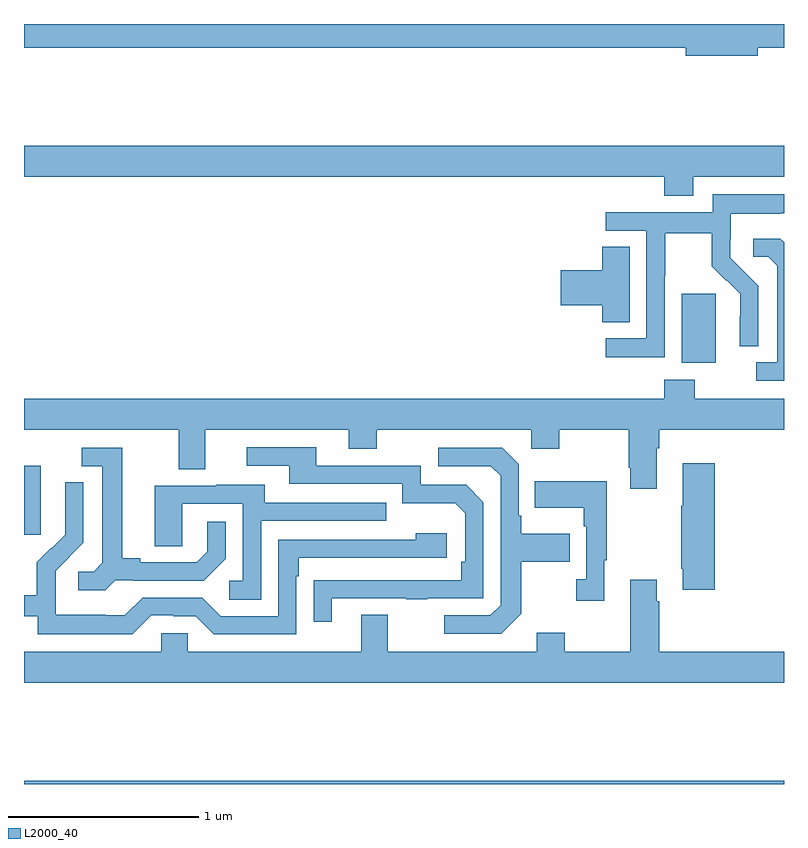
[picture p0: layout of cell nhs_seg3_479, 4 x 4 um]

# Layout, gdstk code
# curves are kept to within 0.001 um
import gdstk
lib = gdstk.Library(unit=1e-6, precision=1e-09)
def R(c, l, rs):  # rectangles x0, y0, x1, y1
    for r in rs: c.add(gdstk.rectangle(r[:2], r[2:], *l))
def P(c, l, *ps):  # polygons
    for p in ps: c.add(gdstk.Polygon(p, *l))
L2000_40 = (2000, 40)

nhs_seg3_479 = lib.new_cell('nhs_seg3_479')
R(nhs_seg3_479, L2000_40, [(135,684.4,139,684.416), (135,685.713,135.088,686.074), (138.461,686.618,138.64,686.979)])
P(nhs_seg3_479, L2000_40, [(138.862,688.276),(139,688.276),(139,688.4),(135,688.4),(135,688.276),(138.482,688.276),(138.482,688.234),(138.862,688.234)],
  [(138.523,687.596),(139,687.596),(139,687.76),(135,687.76),(135,687.596),(138.371,687.596),(138.371,687.497),(138.523,687.497)],
  [(138.372,687.076),(138.375,687.076),(138.375,687.3),(138.619,687.3),(138.619,687.125),(138.696,687.048),(138.699,687.051),(138.77,686.981),(138.77,686.858),(138.768,686.858),(138.768,686.704),(138.864,686.704),(138.864,687.022),(138.718,687.17),(138.718,687.267),(138.72,687.267),(138.72,687.401),(138.983,687.401),(138.983,687.405),(139,687.405),(139,687.505),(138.624,687.505),(138.624,687.408),(138.063,687.408),(138.063,687.312),(138.276,687.312),(138.276,686.745),(138.063,686.745),(138.063,686.647),(138.372,686.647)],
  [(139,687.251),(138.98,687.271),(138.837,687.271),(138.837,687.174),(138.918,687.174),(138.965,687.127),(138.965,686.619),(138.855,686.619),(138.855,686.523),(139,686.523)],
  [(138.187,687.227),(138.044,687.227),(138.044,687.104),(137.826,687.104),(137.826,686.921),(138.044,686.921),(138.044,686.83),(138.187,686.83)],
  [(135,686.264),(135.815,686.264),(135.815,686.056),(135.955,686.056),(135.955,686.264),(136.709,686.264),(136.709,686.165),(136.857,686.165),(136.857,686.264),(137.67,686.264),(137.67,686.165),(137.817,686.165),(137.817,686.264),(138.184,686.264),(138.184,686.065),(138.191,686.065),(138.191,685.953),(138.331,685.953),(138.331,686.168),(138.344,686.168),(138.344,686.264),(139,686.264),(139,686.428),(138.531,686.428),(138.531,686.527),(138.371,686.527),(138.371,686.428),(135,686.428)],
  [(136.621,685.377),(137.011,685.377),(137.011,685.372),(137.123,685.372),(137.123,685.377),(137.418,685.377),(137.418,685.884),(137.328,685.974),(137.088,685.974),(137.088,686.076),(136.537,686.076),(136.537,686.172),(136.173,686.172),(136.173,686.076),(136.397,686.076),(136.397,685.98),(136.992,685.98),(136.992,685.877),(137.269,685.877),(137.322,685.824),(137.322,685.57),(137.302,685.57),(137.302,685.473),(136.525,685.472),(136.525,685.254),(136.621,685.254)],
  [(135.48,685.473),(135.574,685.473),(135.574,685.47),(135.946,685.47),(136.062,685.586),(136.062,685.78),(135.965,685.78),(135.965,685.623),(135.908,685.566),(135.613,685.566),(135.613,685.589),(135.517,685.589),(135.517,686.169),(135.303,686.169),(135.303,686.073),(135.413,686.073),(135.413,685.565),(135.366,685.518),(135.285,685.518),(135.285,685.421),(135.428,685.421)],
  [(137.617,685.297),(137.617,685.57),(137.873,685.57),(137.873,685.717),(137.617,685.717),(137.617,685.813),(137.604,685.813),(137.604,686.082),(137.517,686.169),(137.181,686.169),(137.181,686.073),(137.457,686.073),(137.508,686.022),(137.508,685.341),(137.454,685.287),(137.211,685.287),(137.211,685.191),(137.511,685.191)],
  [(138.635,686.089),(138.467,686.089),(138.467,685.865),(138.46,685.865),(138.46,685.534),(138.467,685.534),(138.467,685.422),(138.635,685.422)],
  [(138.055,685.577),(138.067,685.577),(138.067,685.993),(137.689,685.993),(137.689,685.853),(137.946,685.853),(137.946,685.757),(137.958,685.757),(137.958,685.478),(137.907,685.478),(137.907,685.365),(138.055,685.365)],
  [(135.669,685.287),(135.785,685.287),(135.785,685.284),(135.903,685.284),(135.999,685.188),(136.434,685.188),(136.434,685.493),(136.447,685.493),(136.447,685.59),(137.224,685.59),(137.224,685.72),(137.063,685.72),(137.063,685.686),(136.338,685.686),(136.338,685.284),(136.035,685.284),(135.939,685.38),(135.624,685.38),(135.531,685.287),(135.431,685.287),(135.431,685.291),(135.168,685.291),(135.168,685.425),(135.166,685.425),(135.166,685.522),(135.312,685.67),(135.312,685.988),(135.216,685.988),(135.216,685.834),(135.218,685.834),(135.218,685.712),(135.147,685.641),(135.144,685.644),(135.067,685.567),(135.067,685.393),(135,685.393),(135,685.284),(135.072,685.284),(135.072,685.187),(135.569,685.187)],
  [(136.248,685.785),(136.907,685.785),(136.907,685.881),(136.267,685.881),(136.267,685.975),(136.013,685.975),(136.013,685.971),(135.689,685.971),(135.689,685.651),(135.834,685.651),(135.834,685.875),(136.152,685.875),(136.152,685.47),(136.08,685.47),(136.08,685.369),(136.248,685.369)],
  [(139,685.096),(138.344,685.096),(138.344,685.361),(138.331,685.361),(138.331,685.474),(138.191,685.474),(138.191,685.096),(137.847,685.096),(137.847,685.195),(137.699,685.195),(137.699,685.096),(136.915,685.096),(136.915,685.291),(136.775,685.291),(136.775,685.096),(135.861,685.096),(135.861,685.194),(135.723,685.194),(135.723,685.096),(135,685.096),(135,684.932),(139,684.932)])

lib.write_gds('nhs_seg3_479.gds')
